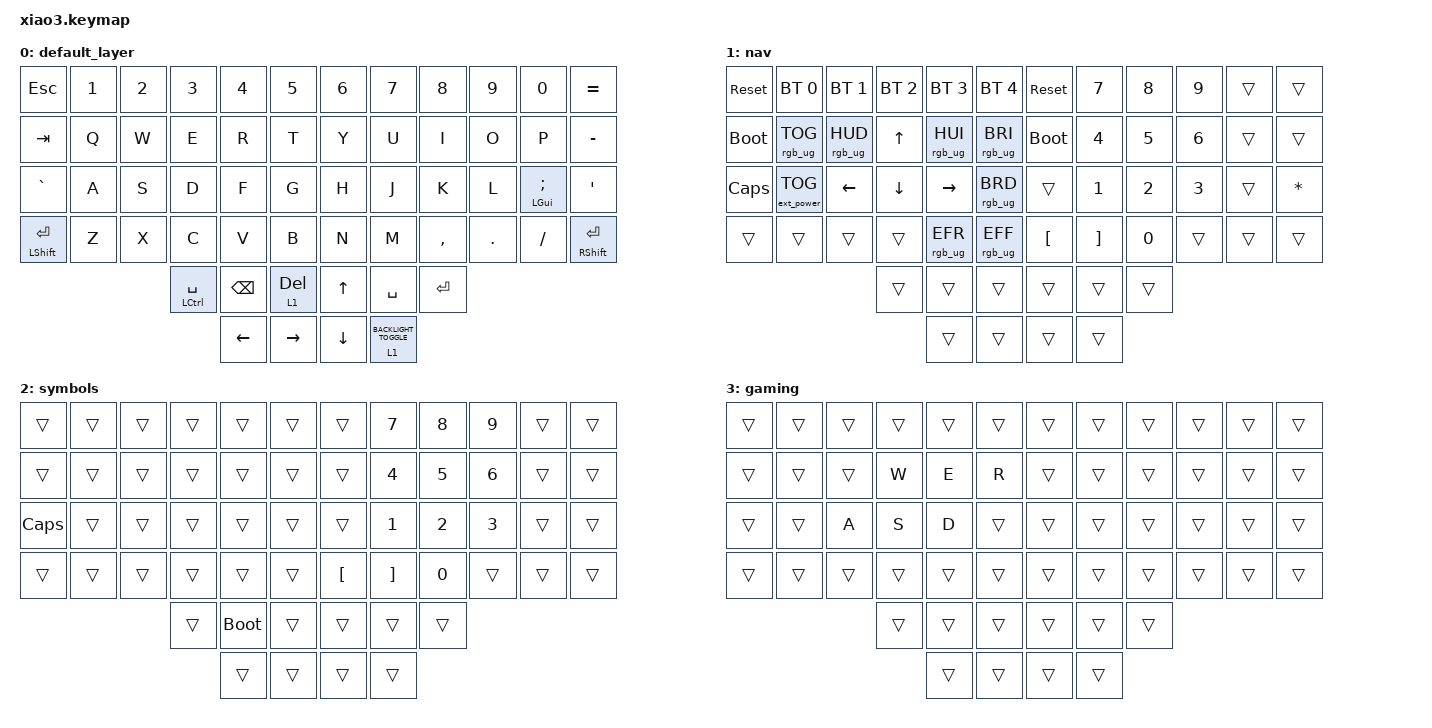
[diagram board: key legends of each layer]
/*
 * Copyright (c) 2020 The ZMK Contributors
 *
 * SPDX-License-Identifier: MIT
 */

#include <behaviors/mouse_keys.dtsi>
#include <behaviors.dtsi>
#include <input/processors.dtsi>
#include <dt-bindings/zmk/input_transform.h>
#include <dt-bindings/zmk/bt.h>
#include <dt-bindings/zmk/ext_power.h>
#include <dt-bindings/zmk/keys.h>
#include <dt-bindings/zmk/rgb.h>

/ {
    keymap {
        compatible = "zmk,keymap";

        default_layer {
            bindings = <
&kp ESC                &kp N1  &kp N2  &kp N3                  &kp N4         &kp N5                   &kp N6                    &kp N7   &kp N8     &kp N9   &kp N0             &kp EQUAL
&kp TAB                &kp Q   &kp W   &kp E                   &kp R          &kp T                    &kp Y                     &kp U    &kp I      &kp O    &kp P              &kp MINUS
&kp GRAVE              &kp A   &kp S   &kp D                   &kp F          &kp G                    &kp H                     &kp J    &kp K      &kp L    &mt LEFT_GUI SEMI  &kp SQT
&mt LEFT_SHIFT RETURN  &kp Z   &kp X   &kp C                   &kp V          &kp B                    &kp N                     &kp M    &kp COMMA  &kp DOT  &kp FSLH           &mt RSHIFT RETURN
                                       &mt LEFT_CONTROL SPACE  &kp BACKSPACE  &lt 1 DEL  &kp UP_ARROW  &kp SPACE                 &kp RET
                                                               &kp LEFT       &kp RIGHT  &kp DOWN      &lt 1 C_BACKLIGHT_TOGGLE
            >;
        };

        nav {
            bindings = <
&sys_reset    &bt BT_SEL 0       &bt BT_SEL 1     &bt BT_SEL 2  &bt BT_SEL 3     &bt BT_SEL 4             &sys_reset        &kp N7             &kp N8        &kp N9        &trans  &trans
&bootloader   &rgb_ug RGB_TOG    &rgb_ug RGB_HUD  &kp UP_ARROW  &rgb_ug RGB_HUI  &rgb_ug RGB_BRI          &bootloader       &kp NUMBER_4       &kp N5        &kp NUMBER_6  &trans  &trans
&kp CAPSLOCK  &ext_power EP_TOG  &kp LEFT         &kp DOWN      &kp RIGHT        &rgb_ug RGB_BRD          &trans            &kp NUMBER_1       &kp NUMBER_2  &kp NUMBER_3  &trans  &kp ASTERISK
&trans        &trans             &trans           &trans        &rgb_ug RGB_EFR  &rgb_ug RGB_EFF          &kp LEFT_BRACKET  &kp RIGHT_BRACKET  &kp N0        &trans        &trans  &trans
                                                  &trans        &trans           &trans           &trans  &trans            &trans
                                                                &trans           &trans           &trans  &trans
            >;
        };

        symbols {
            bindings = <
&trans        &trans  &trans  &trans  &trans       &trans          &trans            &kp N7             &kp NUMBER_8  &kp NUMBER_9  &trans  &trans
&trans        &trans  &trans  &trans  &trans       &trans          &trans            &kp NUMBER_4       &kp N5        &kp NUMBER_6  &trans  &trans
&kp CAPSLOCK  &trans  &trans  &trans  &trans       &trans          &trans            &kp NUMBER_1       &kp N2        &kp NUMBER_3  &trans  &trans
&trans        &trans  &trans  &trans  &trans       &trans          &kp LEFT_BRACKET  &kp RIGHT_BRACKET  &kp NUMBER_0  &trans        &trans  &trans
                              &trans  &bootloader  &trans  &trans  &trans            &trans
                                      &trans       &trans  &trans  &trans
            >;
        };

        gaming {
            bindings = <
&trans  &trans  &trans  &trans  &trans  &trans          &trans  &trans  &trans  &trans  &trans  &trans
&trans  &trans  &trans  &kp W   &kp E   &kp R           &trans  &trans  &trans  &trans  &trans  &trans
&trans  &trans  &kp A   &kp S   &kp D   &trans          &trans  &trans  &trans  &trans  &trans  &trans
&trans  &trans  &trans  &trans  &trans  &trans          &trans  &trans  &trans  &trans  &trans  &trans
                        &trans  &trans  &trans  &trans  &trans  &trans
                                &trans  &trans  &trans  &trans
            >;
        };
    };
};
